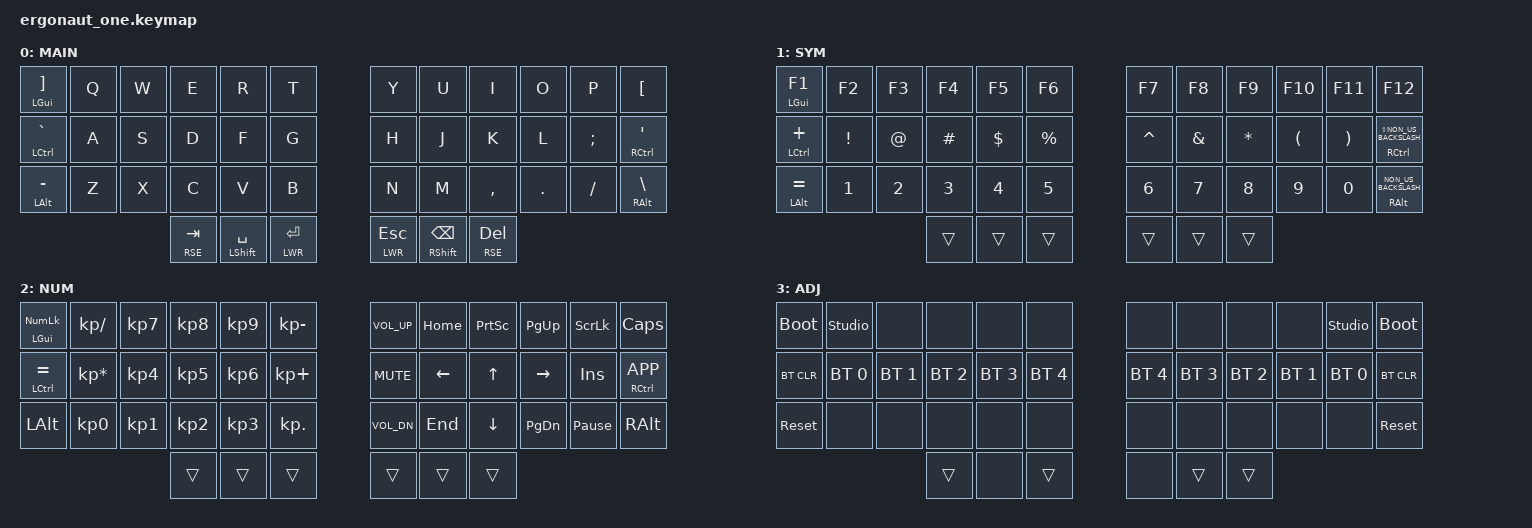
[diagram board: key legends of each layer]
#include <behaviors.dtsi>
#include <dt-bindings/zmk/keys.h>
#include <dt-bindings/zmk/bt.h>

#define DEF 0
#define LWR 1
#define RSE 2
#define ADJ 3

&lt {
    quick-tap-ms = <200>;
};

&mt {
    quick-tap-ms = <200>;
};

/ {
    conditional_layers {
        compatible = "zmk,conditional-layers";

        tri-layer {
            if-layers = <LWR RSE>;
            then-layer = <ADJ>;
        };
    };

    behaviors {
        rctrl_tap: rctrl_tap {
            compatible = "zmk,behavior-hold-tap";
            #binding-cells = <2>;
            bindings = <&kp>, <&kp>;

            flavor = "tap-preferred";
            tapping-term-ms = <220>;
            quick-tap-ms = <200>;
            require-prior-idle-ms = <150>;
        };
        space_tap: space_tap {
            compatible = "zmk,behavior-hold-tap";
            #binding-cells = <2>;
            bindings = <&kp>, <&kp>;

            flavor = "tap-preferred";
            tapping-term-ms = <250>;
            quick-tap-ms = <200>;
        };
    };
    keymap {
        compatible = "zmk,keymap";

        default_layer {
            display-name = "MAIN";
            bindings = <
                &mt LGUI RBKT     &kp Q   &kp W   &kp E         &kp R             &kp T         &kp Y         &kp U            &kp I         &kp O     &kp P      &kp LBKT       
                &mt LCTRL GRAVE   &kp A   &kp S   &kp D         &kp F             &kp G         &kp H         &kp J            &kp K         &kp L     &kp SEMI   &rctrl_tap RCTRL SQT
                &mt LALT MINUS    &kp Z   &kp X   &kp C         &kp V             &kp B         &kp N         &kp M            &kp COMMA     &kp DOT   &kp FSLH   &mt RALT BSLH
                                                  &lt RSE TAB   &space_tap LSHFT SPACE   &lt LWR RET   &lt LWR ESC   &mt RSHFT BSPC   &lt RSE DEL
            >;
        };
        lower_layer {
            display-name = "SYM";
            bindings = <
                &mt LGUI F1      &kp F2     &kp F3   &kp F4        &kp F5     &kp F6      &kp F7      &kp F8     &kp F9        &kp F10    &kp F11    &kp F12           
                &mt LCTRL PLUS   &kp EXCL   &kp AT   &kp HASH      &kp DLLR   &kp PRCNT   &kp CARET   &kp AMPS   &kp STAR      &kp LPAR   &kp RPAR   &mt RCTRL LS(NON_US_BACKSLASH)
                &mt LALT EQUAL   &kp N1     &kp N2   &kp N3        &kp N4     &kp N5      &kp N6      &kp N7     &kp N8        &kp N9     &kp N0     &mt RALT NON_US_BACKSLASH
                                                     &trans        &trans     &trans      &trans      &trans     &trans
            >;
        };

        raise_layer {
            display-name = "NUM";
            bindings = <
                &mt LGUI KP_NUM   &kp KP_SLASH      &kp KP_N7   &kp KP_N8   &kp KP_N9   &kp KP_MINUS   &kp C_VOL_UP   &kp HOME   &kp PSCRN   &kp PG_UP   &kp SLCK          &kp CLCK
                &mt LCTRL EQUAL   &kp KP_MULTIPLY   &kp KP_N4   &kp KP_N5   &kp KP_N6   &kp KP_PLUS    &kp C_MUTE     &kp LEFT   &kp UP      &kp RIGHT   &kp INS           &mt RCTRL  K_APP
                &kp LALT          &kp KP_N0         &kp KP_N1   &kp KP_N2   &kp KP_N3   &kp KP_DOT     &kp C_VOL_DN   &kp END    &kp DOWN    &kp PG_DN   &kp PAUSE_BREAK   &kp RALT
                                                                &trans      &trans      &trans         &trans         &trans     &trans
            >;
        };
        adjust_layer {
            display-name = "ADJ";
            bindings = <
                &bootloader   &studio_unlock &none          &none          &none          &none          &none          &none          &none          &none          &studio_unlock &bootloader
                &bt BT_CLR    &bt BT_SEL 0   &bt BT_SEL 1   &bt BT_SEL 2   &bt BT_SEL 3   &bt BT_SEL 4   &bt BT_SEL 4   &bt BT_SEL 3   &bt BT_SEL 2   &bt BT_SEL 1   &bt BT_SEL 0   &bt BT_CLR
                &sys_reset    &none          &none          &none          &none          &none          &none          &none          &none          &none          &none          &sys_reset
                                                            &trans         &none          &trans         &none          &trans         &trans
            >;
        };
    };
};
